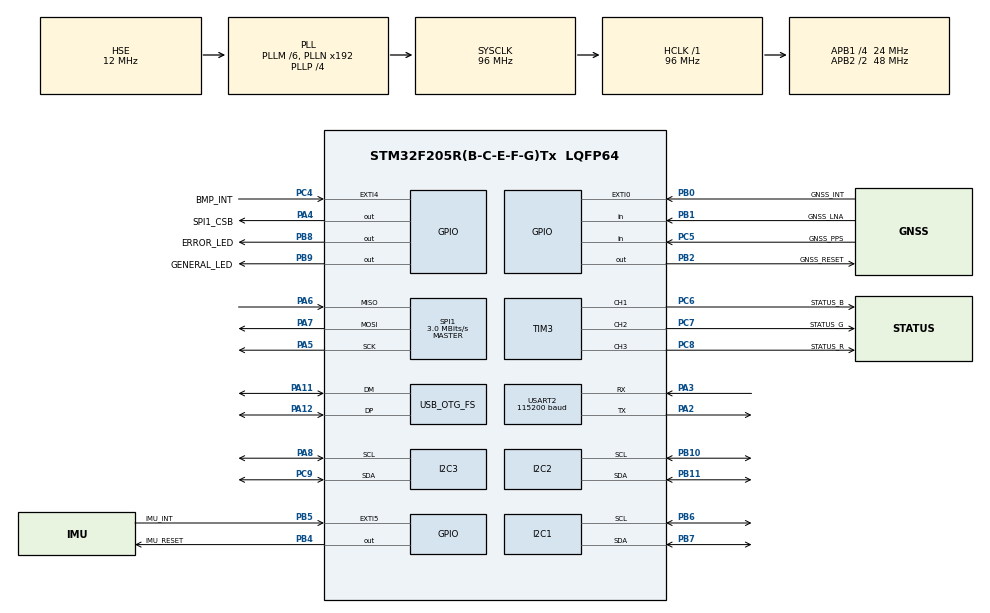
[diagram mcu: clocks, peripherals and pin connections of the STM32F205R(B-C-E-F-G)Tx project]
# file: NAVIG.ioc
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I2C1.I2C_Mode=I2C_Standard
Mcu.Family=STM32F2
Mcu.Name=STM32F205R(B-C-E-F-G)Tx
Mcu.Package=LQFP64
NVIC.EXTI4_IRQn=true\:0\:0\:false\:false\:true\:true\:true\:true
NVIC.EXTI9_5_IRQn=true\:0\:0\:false\:false\:true\:true\:true\:true
NVIC.PriorityGroup=NVIC_PRIORITYGROUP_4
NVIC.USART2_IRQn=true\:0\:0\:false\:false\:true\:true\:true\:true
PA11.Mode=Device_Only
PA11.Signal=USB_OTG_FS_DM
PA12.Mode=Device_Only
PA12.Signal=USB_OTG_FS_DP
PA13.Mode=Serial_Wire
PA13.Signal=SYS_JTMS-SWDIO
PA14.Mode=Serial_Wire
PA14.Signal=SYS_JTCK-SWCLK
PA2.Mode=Asynchronous
PA2.Signal=USART2_TX
PA3.Mode=Asynchronous
PA3.Signal=USART2_RX
PA4.GPIO_Label=SPI1_CSB
PA4.GPIO_ModeDefaultOutputPP=GPIO_MODE_OUTPUT_OD
PA4.GPIO_PuPd=GPIO_NOPULL
PA4.Signal=GPIO_Output
PA5.Mode=Full_Duplex_Master
PA5.Signal=SPI1_SCK
PA6.Mode=Full_Duplex_Master
PA6.Signal=SPI1_MISO
PA7.Mode=Full_Duplex_Master
PA7.Signal=SPI1_MOSI
PA8.Mode=I2C
PA8.Signal=I2C3_SCL
PB0.GPIO_Label=GNSS_INT
PB0.GPIO_PuPd=GPIO_NOPULL
PB0.Signal=GPXTI0
PB1.GPIO_Label=GNSS_LNA
PB1.Signal=GPIO_Input
PB10.Mode=I2C
PB10.Signal=I2C2_SCL
PB11.Mode=I2C
PB11.Signal=I2C2_SDA
PB2.GPIO_Label=GNSS_RESET
PB2.Signal=GPIO_Output
PB4.GPIO_Label=IMU_RESET
PB4.GPIO_ModeDefaultOutputPP=GPIO_MODE_OUTPUT_PP
PB4.GPIO_PuPd=GPIO_NOPULL
PB4.Signal=GPIO_Output
PB5.GPIO_Label=IMU_INT
PB5.GPIO_PuPd=GPIO_NOPULL
PB5.Signal=GPXTI5
PB6.Mode=I2C
PB6.Signal=I2C1_SCL
PB7.Mode=I2C
PB7.Signal=I2C1_SDA
PB8.GPIO_Label=ERROR_LED
PB8.Signal=GPIO_Output
PB9.GPIO_Label=GENERAL_LED
PB9.Signal=GPIO_Output
PC14-OSC32_IN.Mode=LSE-External-Oscillator
PC14-OSC32_IN.Signal=RCC_OSC32_IN
PC15-OSC32_OUT.Mode=LSE-External-Oscillator
PC15-OSC32_OUT.Signal=RCC_OSC32_OUT
PC4.GPIO_Label=BMP_INT
PC4.GPIO_PuPd=GPIO_NOPULL
PC4.Signal=GPXTI4
PC5.GPIO_Label=GNSS_PPS
PC5.Signal=GPIO_Input
PC6.GPIO_Label=STATUS_B
PC6.Signal=S_TIM3_CH1
PC7.GPIO_Label=STATUS_G
PC7.Signal=S_TIM3_CH2
PC8.GPIO_Label=STATUS_R
PC8.Signal=S_TIM3_CH3
PC9.Mode=I2C
PC9.Signal=I2C3_SDA
PH0-OSC_IN.Mode=HSE-External-Oscillator
PH0-OSC_IN.Signal=RCC_OSC_IN
PH1-OSC_OUT.Mode=HSE-External-Oscillator
PH1-OSC_OUT.Signal=RCC_OSC_OUT
ProjectManager.HeapSize=0x200
ProjectManager.StackSize=0x400
ProjectManager.TargetToolchain=STM32CubeIDE
RCC.48MHZClocksFreq_Value=48000000
RCC.AHBFreq_Value=96000000
RCC.APB1CLKDivider=RCC_HCLK_DIV4
RCC.APB1Freq_Value=24000000
RCC.APB1TimFreq_Value=48000000
RCC.APB2CLKDivider=RCC_HCLK_DIV2
RCC.APB2Freq_Value=48000000
RCC.APB2TimFreq_Value=96000000
RCC.CortexFreq_Value=96000000
RCC.EnbaleCSS=true
RCC.HCLKFreq_Value=96000000
RCC.HSE_VALUE=12000000
RCC.HSI_VALUE=16000000
RCC.PLLM=6
RCC.PLLP=RCC_PLLP_DIV4
RCC.PLLQ=8
RCC.PLLSourceVirtual=RCC_PLLSOURCE_HSE
RCC.SYSCLKFreq_VALUE=96000000
RCC.SYSCLKSource=RCC_SYSCLKSOURCE_PLLCLK
RCC.VCOOutputFreq_Value=384000000
SH.S_TIM3_CH1.0=TIM3_CH1,PWM Generation1 CH1
SH.S_TIM3_CH2.0=TIM3_CH2,PWM Generation2 CH2
SH.S_TIM3_CH3.0=TIM3_CH3,PWM Generation3 CH3
SPI1.BaudRatePrescaler=SPI_BAUDRATEPRESCALER_16
SPI1.CalculateBaudRate=3.0 MBits/s
SPI1.Direction=SPI_DIRECTION_2LINES
SPI1.Mode=SPI_MODE_MASTER
SPI1.VirtualType=VM_MASTER
TIM3.Channel-PWM\ Generation1\ CH1=TIM_CHANNEL_1
TIM3.Channel-PWM\ Generation2\ CH2=TIM_CHANNEL_2
TIM3.Channel-PWM\ Generation3\ CH3=TIM_CHANNEL_3
USART2.BaudRate=115200
USART2.VirtualMode=VM_ASYNC
USB_OTG_FS.VirtualMode=Device_Only
VP_CRC_VS_CRC.Mode=CRC_Activate
VP_TIM3_VS_ClockSourceINT.Mode=Internal
board=custom

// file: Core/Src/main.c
/* USER CODE BEGIN Header */
/**
  ******************************************************************************
  * @file           : main.c
  * @brief          : Main program body
  ******************************************************************************
  * @attention
  *
  * Copyright (c) 2025 STMicroelectronics.
  * All rights reserved.
  *
  * This software is licensed under terms that can be found in the LICENSE file
  * in the root directory of this software component.
  * If no LICENSE file comes with this software, it is provided AS-IS.
  *
  ******************************************************************************
  */
/* USER CODE END Header */
#include "main.h"

/* USER CODE BEGIN Includes */
#include "util.h"

#include "Drivers/pwm.h"
#include "Drivers/led.h"

#include "Drivers/bno055.h"
#include "Drivers/bmp390.h"
#include "Drivers/neom9n.h"
/* USER CODE END Includes */

CRC_HandleTypeDef hcrc;

I2C_HandleTypeDef hi2c1;
I2C_HandleTypeDef hi2c2;
I2C_HandleTypeDef hi2c3;

SPI_HandleTypeDef hspi1;

TIM_HandleTypeDef htim3;

UART_HandleTypeDef huart2;

PCD_HandleTypeDef hpcd_USB_OTG_FS;

/* USER CODE BEGIN PV */
rgb_led status_led = {
	.r_pwm = { .htim = &htim3, .channel = TIM_CHANNEL_3, .resolution = 255 },
	.g_pwm = { .htim = &htim3, .channel = TIM_CHANNEL_2, .resolution = 255 },
	.b_pwm = { .htim = &htim3, .channel = TIM_CHANNEL_1, .resolution = 255 }
};

bmp390_data bmp390_sensor_data = {};
bmp390_uncomp_data bmp390_sensor_uncomp_data = {};
bmp390_calib bmp390_sensor_calib = {};

bmp390_error bmp390_sensor_error;
bmp390_status bmp390_sensor_status;
bmp390_handle bmp390;

bno055_data bno055_sensor_data = {};
bno055_handle bno055;
bno055_config bno055_sensor_config = {
	.pwr_mode = BNO055_PWR_Normal,
	.opr_mode = BNO055_OPR_AMG,
	.units = {
		BNO055_UNITS_ACC_MS2,
		BNO055_UNITS_GYR_RPS,
		BNO055_UNITS_EUL_RAD,
		BNO055_UNITS_TEMP_C
	},
	.acc_config = {
		ACC_G_RANGE_16G,
		ACC_BANDWIDTH_62_5_Hz,
		ACC_OPR_Normal
	},
	.gyr_config = {
		GYR_RANGE_2000DPS,
		GYR_BANDWIDTH_32_Hz,
		GYR_OPR_Normal
	},
	.mag_config = {
		MAG_DATA_RATE_20_Hz,
		MAG_PWR_Normal,
		MAG_OPR_Regular
	}
};

neom9n_data neom9n_sensor_data;
neom9n_handle neom9n;

raw_sensor_data data;
sensor_packet packet;

uint8_t tx_data[PACKET_SIZE];

uint32_t packets_attempted = 0;
uint32_t packets_cplt_send = 0;
uint32_t packets_diff = 0;
/* USER CODE END PV */

void SystemClock_Config(void);
static void MX_GPIO_Init(void);
static void MX_I2C1_Init(void);
static void MX_SPI1_Init(void);
static void MX_USART2_UART_Init(void);
static void MX_USB_OTG_FS_PCD_Init(void);
static void MX_I2C2_Init(void);
static void MX_I2C3_Init(void);
static void MX_TIM3_Init(void);
static void MX_CRC_Init(void);

/* USER CODE BEGIN 0 */
void HAL_UART_TxCpltCallback(UART_HandleTypeDef *huart) {
    if (huart->Instance == USART2) {
    	packets_cplt_send++;

    	if ((packets_cplt_send - packets_diff) != packets_attempted) {
    		HAL_GPIO_WritePin(ERROR_LED_GPIO_Port, ERROR_LED_Pin, SET);
    		packets_diff = packets_cplt_send - packets_attempted;
    	} else {
    		HAL_GPIO_WritePin(ERROR_LED_GPIO_Port, ERROR_LED_Pin, RESET);
    	}
    }
}

void HAL_UART_ErrorCallback(UART_HandleTypeDef *huart) {
	if (huart->Instance == USART2) {
		HAL_UART_Abort(&huart2);
	}
}
/* USER CODE END 0 */

int main(void)
{

  /* MCU Configuration--------------------------------------------------------*/

  /* Reset of all peripherals, Initializes the Flash interface and the Systick. */
  HAL_Init();

  /* Configure the system clock */
  SystemClock_Config();

  /* Initialize all configured peripherals */
  MX_GPIO_Init();
  MX_I2C1_Init();
  MX_SPI1_Init();
  MX_USART2_UART_Init();
  MX_USB_OTG_FS_PCD_Init();
  MX_I2C2_Init();
  MX_I2C3_Init();
  MX_TIM3_Init();
  MX_CRC_Init();
  /* USER CODE BEGIN 2 */
  bmp390.spi_handle = &hspi1;
  bmp390.data = &bmp390_sensor_data;
  bmp390.uncomp_data = &bmp390_sensor_uncomp_data;
  bmp390.calib = &bmp390_sensor_calib;
  bmp390.error = &bmp390_sensor_error;
  bmp390.status = &bmp390_sensor_status;
  BMP390_Init(&bmp390);

  bno055.i2c_handle = &hi2c1;
  bno055.address = 0x29;
  bno055.data = &bno055_sensor_data;
  BNO055_Init(&bno055, &bno055_sensor_config);

//  neom9n.i2c_handle = &hi2c2;
//  neom9n.address = 0x42;
//  neom9n.data = &neom9n_sensor_data;

  rgb_led_start(&status_led);
  /* USER CODE END 2 */

  /* Infinite loop */
  while (1)
  {

    /* USER CODE BEGIN 3 */
	  data.time = HAL_GetTick();

	  data.bmp390.pressure = bmp390.data->pressure;
	  data.bmp390.temperature = bmp390.data->temperature;

	  BNO055_ReadAcc(&bno055);
	  BNO055_ReadMag(&bno055);
	  BNO055_ReadGyr(&bno055);

	  data.bno055.ax = bno055.data->ax;
	  data.bno055.ay = bno055.data->ay;
	  data.bno055.az = bno055.data->az;

	  data.bno055.gx = bno055.data->gx;
	  data.bno055.gy = bno055.data->gy;
	  data.bno055.gz = bno055.data->gz;

	  data.bno055.mx = bno055.data->mx;
	  data.bno055.my = bno055.data->my;
	  data.bno055.mz = bno055.data->mz;

	  build_packet(&packet, &data);
	  packet_to_bytes(&packet, tx_data);

	  // TODO: try to save the packets that end up in busy UART ???

	  // handle sending packet
	  if (HAL_UART_GetState(&huart2) == HAL_UART_STATE_READY) {
	      HAL_UART_Transmit_IT(&huart2, tx_data, PACKET_SIZE);
	      packets_attempted++;
	  }

//	  HAL_Delay(1); // TODO: unnecessary delay ???
  }
  /* USER CODE END 3 */
}

void SystemClock_Config(void)
{
  RCC_OscInitTypeDef RCC_OscInitStruct = {0};
  RCC_ClkInitTypeDef RCC_ClkInitStruct = {0};

  /** Initializes the RCC Oscillators according to the specified parameters
  * in the RCC_OscInitTypeDef structure.
  */
  RCC_OscInitStruct.OscillatorType = RCC_OSCILLATORTYPE_HSE;
  RCC_OscInitStruct.HSEState = RCC_HSE_ON;
  RCC_OscInitStruct.PLL.PLLState = RCC_PLL_ON;
  RCC_OscInitStruct.PLL.PLLSource = RCC_PLLSOURCE_HSE;
  RCC_OscInitStruct.PLL.PLLM = 6;
  RCC_OscInitStruct.PLL.PLLN = 192;
  RCC_OscInitStruct.PLL.PLLP = RCC_PLLP_DIV4;
  RCC_OscInitStruct.PLL.PLLQ = 8;
  if (HAL_RCC_OscConfig(&RCC_OscInitStruct) != HAL_OK)
  {
    Error_Handler();
  }

  /** Initializes the CPU, AHB and APB buses clocks
  */
  RCC_ClkInitStruct.ClockType = RCC_CLOCKTYPE_HCLK|RCC_CLOCKTYPE_SYSCLK
                              |RCC_CLOCKTYPE_PCLK1|RCC_CLOCKTYPE_PCLK2;
  RCC_ClkInitStruct.SYSCLKSource = RCC_SYSCLKSOURCE_PLLCLK;
  RCC_ClkInitStruct.AHBCLKDivider = RCC_SYSCLK_DIV1;
  RCC_ClkInitStruct.APB1CLKDivider = RCC_HCLK_DIV4;
  RCC_ClkInitStruct.APB2CLKDivider = RCC_HCLK_DIV2;

  if (HAL_RCC_ClockConfig(&RCC_ClkInitStruct, FLASH_LATENCY_3) != HAL_OK)
  {
    Error_Handler();
  }

  /** Enables the Clock Security System
  */
  HAL_RCC_EnableCSS();
}

static void MX_CRC_Init(void)
{

  hcrc.Instance = CRC;
  if (HAL_CRC_Init(&hcrc) != HAL_OK)
  {
    Error_Handler();
  }

}

static void MX_I2C1_Init(void)
{

  hi2c1.Instance = I2C1;
  hi2c1.Init.ClockSpeed = 100000;
  hi2c1.Init.DutyCycle = I2C_DUTYCYCLE_2;
  hi2c1.Init.OwnAddress1 = 0;
  hi2c1.Init.AddressingMode = I2C_ADDRESSINGMODE_7BIT;
  hi2c1.Init.DualAddressMode = I2C_DUALADDRESS_DISABLE;
  hi2c1.Init.OwnAddress2 = 0;
  hi2c1.Init.GeneralCallMode = I2C_GENERALCALL_DISABLE;
  hi2c1.Init.NoStretchMode = I2C_NOSTRETCH_DISABLE;
  if (HAL_I2C_Init(&hi2c1) != HAL_OK)
  {
    Error_Handler();
  }

}

static void MX_I2C2_Init(void)
{

  hi2c2.Instance = I2C2;
  hi2c2.Init.ClockSpeed = 100000;
  hi2c2.Init.DutyCycle = I2C_DUTYCYCLE_2;
  hi2c2.Init.OwnAddress1 = 0;
  hi2c2.Init.AddressingMode = I2C_ADDRESSINGMODE_7BIT;
  hi2c2.Init.DualAddressMode = I2C_DUALADDRESS_DISABLE;
  hi2c2.Init.OwnAddress2 = 0;
  hi2c2.Init.GeneralCallMode = I2C_GENERALCALL_DISABLE;
  hi2c2.Init.NoStretchMode = I2C_NOSTRETCH_DISABLE;
  if (HAL_I2C_Init(&hi2c2) != HAL_OK)
  {
    Error_Handler();
  }

}

static void MX_I2C3_Init(void)
{

  hi2c3.Instance = I2C3;
  hi2c3.Init.ClockSpeed = 100000;
  hi2c3.Init.DutyCycle = I2C_DUTYCYCLE_2;
  hi2c3.Init.OwnAddress1 = 0;
  hi2c3.Init.AddressingMode = I2C_ADDRESSINGMODE_7BIT;
  hi2c3.Init.DualAddressMode = I2C_DUALADDRESS_DISABLE;
  hi2c3.Init.OwnAddress2 = 0;
  hi2c3.Init.GeneralCallMode = I2C_GENERALCALL_DISABLE;
  hi2c3.Init.NoStretchMode = I2C_NOSTRETCH_DISABLE;
  if (HAL_I2C_Init(&hi2c3) != HAL_OK)
  {
    Error_Handler();
  }

}

static void MX_SPI1_Init(void)
{

  /* SPI1 parameter configuration*/
  hspi1.Instance = SPI1;
  hspi1.Init.Mode = SPI_MODE_MASTER;
  hspi1.Init.Direction = SPI_DIRECTION_2LINES;
  hspi1.Init.DataSize = SPI_DATASIZE_8BIT;
  hspi1.Init.CLKPolarity = SPI_POLARITY_LOW;
  hspi1.Init.CLKPhase = SPI_PHASE_1EDGE;
  hspi1.Init.NSS = SPI_NSS_SOFT;
  hspi1.Init.BaudRatePrescaler = SPI_BAUDRATEPRESCALER_16;
  hspi1.Init.FirstBit = SPI_FIRSTBIT_MSB;
  hspi1.Init.TIMode = SPI_TIMODE_DISABLE;
  hspi1.Init.CRCCalculation = SPI_CRCCALCULATION_DISABLE;
  hspi1.Init.CRCPolynomial = 10;
  if (HAL_SPI_Init(&hspi1) != HAL_OK)
  {
    Error_Handler();
  }

}

static void MX_TIM3_Init(void)
{

  TIM_ClockConfigTypeDef sClockSourceConfig = {0};
  TIM_MasterConfigTypeDef sMasterConfig = {0};
  TIM_OC_InitTypeDef sConfigOC = {0};

  htim3.Instance = TIM3;
  htim3.Init.Prescaler = 0;
  htim3.Init.CounterMode = TIM_COUNTERMODE_UP;
  htim3.Init.Period = 65535;
  htim3.Init.ClockDivision = TIM_CLOCKDIVISION_DIV1;
  htim3.Init.AutoReloadPreload = TIM_AUTORELOAD_PRELOAD_DISABLE;
  if (HAL_TIM_Base_Init(&htim3) != HAL_OK)
  {
    Error_Handler();
  }
  sClockSourceConfig.ClockSource = TIM_CLOCKSOURCE_INTERNAL;
  if (HAL_TIM_ConfigClockSource(&htim3, &sClockSourceConfig) != HAL_OK)
  {
    Error_Handler();
  }
  if (HAL_TIM_PWM_Init(&htim3) != HAL_OK)
  {
    Error_Handler();
  }
  sMasterConfig.MasterOutputTrigger = TIM_TRGO_RESET;
  sMasterConfig.MasterSlaveMode = TIM_MASTERSLAVEMODE_DISABLE;
  if (HAL_TIMEx_MasterConfigSynchronization(&htim3, &sMasterConfig) != HAL_OK)
  {
    Error_Handler();
  }
  sConfigOC.OCMode = TIM_OCMODE_PWM1;
  sConfigOC.Pulse = 0;
  sConfigOC.OCPolarity = TIM_OCPOLARITY_HIGH;
  sConfigOC.OCFastMode = TIM_OCFAST_DISABLE;
  if (HAL_TIM_PWM_ConfigChannel(&htim3, &sConfigOC, TIM_CHANNEL_1) != HAL_OK)
  {
    Error_Handler();
  }
  if (HAL_TIM_PWM_ConfigChannel(&htim3, &sConfigOC, TIM_CHANNEL_2) != HAL_OK)
  {
    Error_Handler();
  }
  if (HAL_TIM_PWM_ConfigChannel(&htim3, &sConfigOC, TIM_CHANNEL_3) != HAL_OK)
  {
    Error_Handler();
  }
  HAL_TIM_MspPostInit(&htim3);

}

static void MX_USART2_UART_Init(void)
{

  huart2.Instance = USART2;
  huart2.Init.BaudRate = 115200;
  huart2.Init.WordLength = UART_WORDLENGTH_8B;
  huart2.Init.StopBits = UART_STOPBITS_1;
  huart2.Init.Parity = UART_PARITY_NONE;
  huart2.Init.Mode = UART_MODE_TX_RX;
  huart2.Init.HwFlowCtl = UART_HWCONTROL_NONE;
  huart2.Init.OverSampling = UART_OVERSAMPLING_16;
  if (HAL_UART_Init(&huart2) != HAL_OK)
  {
    Error_Handler();
  }

}

static void MX_USB_OTG_FS_PCD_Init(void)
{

  hpcd_USB_OTG_FS.Instance = USB_OTG_FS;
  hpcd_USB_OTG_FS.Init.dev_endpoints = 4;
  hpcd_USB_OTG_FS.Init.speed = PCD_SPEED_FULL;
  hpcd_USB_OTG_FS.Init.dma_enable = DISABLE;
  hpcd_USB_OTG_FS.Init.phy_itface = PCD_PHY_EMBEDDED;
  hpcd_USB_OTG_FS.Init.Sof_enable = DISABLE;
  hpcd_USB_OTG_FS.Init.low_power_enable = DISABLE;
  hpcd_USB_OTG_FS.Init.vbus_sensing_enable = DISABLE;
  hpcd_USB_OTG_FS.Init.use_dedicated_ep1 = DISABLE;
  if (HAL_PCD_Init(&hpcd_USB_OTG_FS) != HAL_OK)
  {
    Error_Handler();
  }

}

static void MX_GPIO_Init(void)
{
  GPIO_InitTypeDef GPIO_InitStruct = {0};

  /* GPIO Ports Clock Enable */
  __HAL_RCC_GPIOC_CLK_ENABLE();
  __HAL_RCC_GPIOH_CLK_ENABLE();
  __HAL_RCC_GPIOA_CLK_ENABLE();
  __HAL_RCC_GPIOB_CLK_ENABLE();

  /*Configure GPIO pin Output Level */
  HAL_GPIO_WritePin(SPI1_CSB_GPIO_Port, SPI1_CSB_Pin, GPIO_PIN_RESET);

  /*Configure GPIO pin Output Level */
  HAL_GPIO_WritePin(GPIOB, GNSS_RESET_Pin|IMU_RESET_Pin|ERROR_LED_Pin|GENERAL_LED_Pin, GPIO_PIN_RESET);

  /*Configure GPIO pin : SPI1_CSB_Pin */
  GPIO_InitStruct.Pin = SPI1_CSB_Pin;
  GPIO_InitStruct.Mode = GPIO_MODE_OUTPUT_OD;
  GPIO_InitStruct.Pull = GPIO_NOPULL;
  GPIO_InitStruct.Speed = GPIO_SPEED_FREQ_LOW;
  HAL_GPIO_Init(SPI1_CSB_GPIO_Port, &GPIO_InitStruct);

  /*Configure GPIO pin : BMP_INT_Pin */
  GPIO_InitStruct.Pin = BMP_INT_Pin;
  GPIO_InitStruct.Mode = GPIO_MODE_IT_RISING;
  GPIO_InitStruct.Pull = GPIO_NOPULL;
  HAL_GPIO_Init(BMP_INT_GPIO_Port, &GPIO_InitStruct);

  /*Configure GPIO pin : GNSS_PPS_Pin */
  GPIO_InitStruct.Pin = GNSS_PPS_Pin;
  GPIO_InitStruct.Mode = GPIO_MODE_INPUT;
  GPIO_InitStruct.Pull = GPIO_NOPULL;
  HAL_GPIO_Init(GNSS_PPS_GPIO_Port, &GPIO_InitStruct);

  /*Configure GPIO pins : GNSS_INT_Pin IMU_INT_Pin */
  GPIO_InitStruct.Pin = GNSS_INT_Pin|IMU_INT_Pin;
  GPIO_InitStruct.Mode = GPIO_MODE_IT_RISING;
  GPIO_InitStruct.Pull = GPIO_NOPULL;
  HAL_GPIO_Init(GPIOB, &GPIO_InitStruct);

  /*Configure GPIO pin : GNSS_LNA_Pin */
  GPIO_InitStruct.Pin = GNSS_LNA_Pin;
  GPIO_InitStruct.Mode = GPIO_MODE_INPUT;
  GPIO_InitStruct.Pull = GPIO_NOPULL;
  HAL_GPIO_Init(GNSS_LNA_GPIO_Port, &GPIO_InitStruct);

  /*Configure GPIO pins : GNSS_RESET_Pin IMU_RESET_Pin ERROR_LED_Pin GENERAL_LED_Pin */
  GPIO_InitStruct.Pin = GNSS_RESET_Pin|IMU_RESET_Pin|ERROR_LED_Pin|GENERAL_LED_Pin;
  GPIO_InitStruct.Mode = GPIO_MODE_OUTPUT_PP;
  GPIO_InitStruct.Pull = GPIO_NOPULL;
  GPIO_InitStruct.Speed = GPIO_SPEED_FREQ_LOW;
  HAL_GPIO_Init(GPIOB, &GPIO_InitStruct);

  /* EXTI interrupt init*/
  HAL_NVIC_SetPriority(EXTI4_IRQn, 0, 0);
  HAL_NVIC_EnableIRQ(EXTI4_IRQn);

  HAL_NVIC_SetPriority(EXTI9_5_IRQn, 0, 0);
  HAL_NVIC_EnableIRQ(EXTI9_5_IRQn);

}

/* USER CODE BEGIN 4 */
void HAL_GPIO_EXTI_Callback(uint16_t GPIO_Pin) {
  switch (GPIO_Pin) {
  case GPIO_PIN_4:
	  BMP390_Read(&bmp390);
	  break;
  case GPIO_PIN_5:
	  break;
  case GPIO_PIN_0:
	  break;
  default:
	  break;
  }
}
/* USER CODE END 4 */

void Error_Handler(void)
{
  __disable_irq();
  while (1)
  {
  }
}
